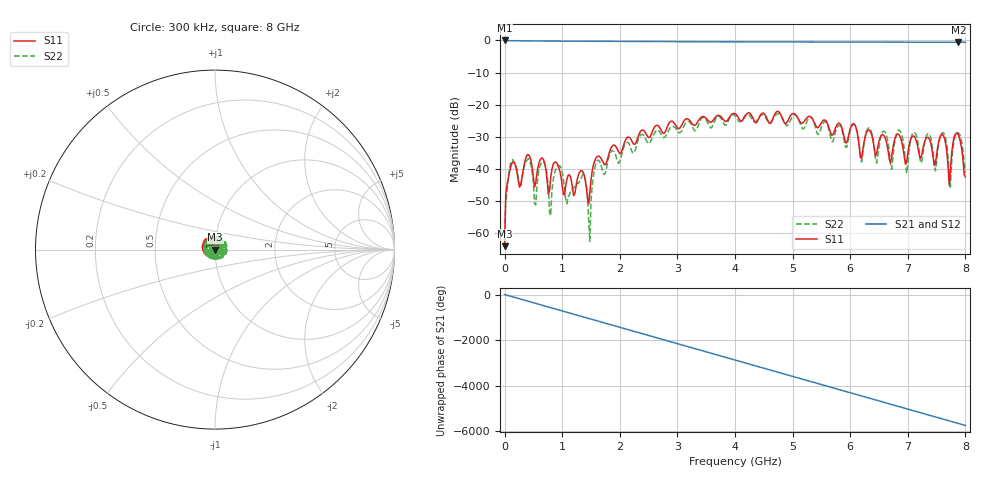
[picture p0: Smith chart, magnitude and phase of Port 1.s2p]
! RsaToolbox (C) 2014 Rohde & Schwarz America
! Number of points: 401
! Number of ports: 2
! Balanced ports?: No
# Hz S RI R 50
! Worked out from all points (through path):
!   401 points, 300 kHz to 8 GHz, reference 50 ohm
!   highest |S21| = -0.01 dB at 300 kHz (marker M1); lowest = -0.6 dB at 7.88 GHz (marker M2)
!   group delay of S21, straight-line fit = 1.99 ns
!   lowest |S11| = -64.1 dB at 300 kHz (marker M3), VSWR 1.00, Z = 50 + j0.0379 ohm
!   |S11| at or under -10 dB: start of sweep to end of sweep
!   |S22| runs from -62.7 to -22.8 dB; largest |S21 - S12| = 0
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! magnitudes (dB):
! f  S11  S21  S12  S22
! 300 kHz  -64.1  0.0  0.0  -59.8
! 140.3 MHz  -37.9  -0.1  -0.1  -37.1
! 260.3 MHz  -45.7  -0.1  -0.1  -45.5
! 420.3 MHz  -35.8  -0.1  -0.1  -36.8
! 540.3 MHz  -44.5  -0.2  -0.2  -51.3
! 680.3 MHz  -37.3  -0.2  -0.2  -37.9
! 800.3 MHz  -42.9  -0.2  -0.2  -54.6
! 920.3 MHz  -38.7  -0.2  -0.2  -39.1
! 1.1 GHz  -42.1  -0.2  -0.2  -49.0
! 1.34 GHz  -40.6  -0.2  -0.2  -42.5
! 1.48 GHz  -47.4  -0.3  -0.3  -62.7
! 1.62 GHz  -36.1  -0.3  -0.3  -37.3
! 2.68 GHz  -26.9  -0.4  -0.4  -28.2
! 4 GHz  -22.7  -0.4  -0.4  -23.5
! 5.34 GHz  -24.3  -0.5  -0.5  -24.2
! 6.68 GHz  -37.1  -0.5  -0.5  -34.6
! 7.36 GHz  -30.3  -0.6  -0.6  -29.1
! 7.48 GHz  -38.5  -0.6  -0.6  -40.7
! 7.6 GHz  -29.3  -0.6  -0.6  -28.8
! 7.74 GHz  -40.6  -0.6  -0.6  -45.7
! 7.88 GHz  -29.5  -0.6  -0.6  -28.8
! 8 GHz  -42.5  -0.6  -0.6  -41.2
